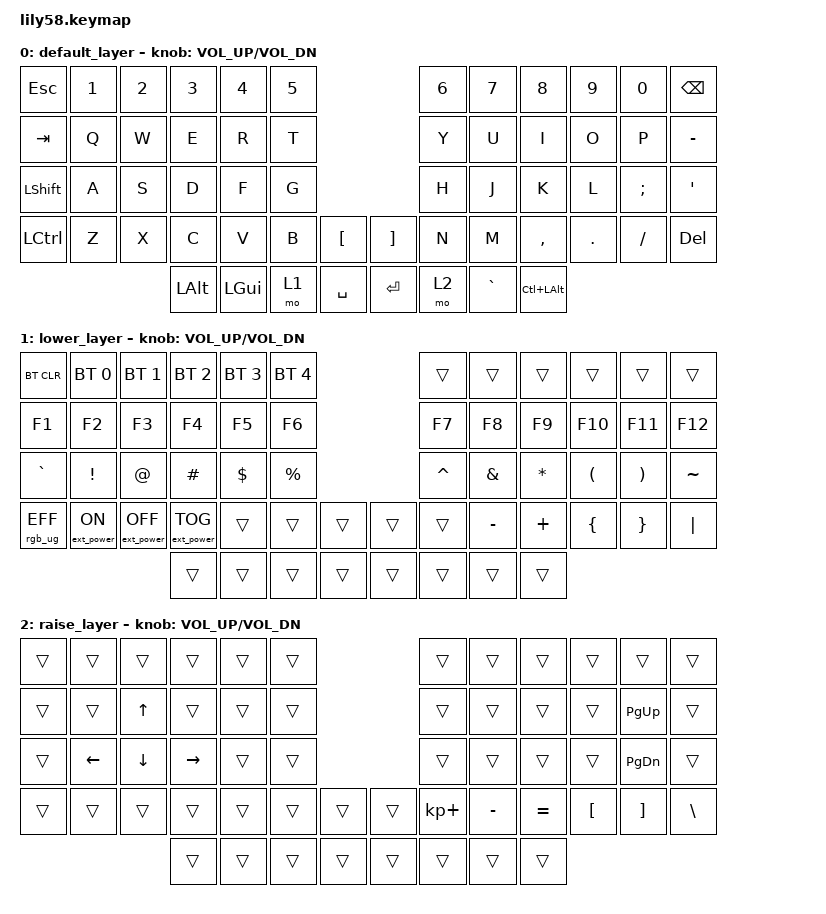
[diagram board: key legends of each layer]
/*
 * Copyright (c) 2020 The ZMK Contributors
 *
 * SPDX-License-Identifier: MIT
 */

#include <behaviors.dtsi>
#include <dt-bindings/zmk/keys.h>
#include <dt-bindings/zmk/bt.h>
#include <dt-bindings/zmk/ext_power.h>
#include <dt-bindings/zmk/rgb.h>

&led_strip {
    chain-length = <35>;
};

/ {
    keymap {
        compatible = "zmk,keymap";

        default_layer {
// ------------------------------------------------------------------------------------------------------------
// |  ESC  |  1  |  2  |  3   |  4   |  5   |                   |  6   |  7    |  8    |  9   |   0   | BSPC  |
// |  TAB  |  Q  |  W  |  E   |  R   |  T   |                   |  Y   |  U    |  I    |  O   |   P   |   -   |
// | SHIFT |  A  |  S  |  D   |  F   |  G   |                   |  H   |  J    |  K    |  L   |   ;   |   '   |
// |  CTRL |  Z  |  X  |  C   |  V   |  B   |   "["  |  |  "]"  |  N   |  M    |  ,    |  .   |   /   |  DEL  |
//                     | ALT  | GUI  | LOWER|  SPACE |  | ENTER | RAISE|  `    | CTRL+LALT |
            bindings = <
&kp ESC   &kp N1 &kp N2 &kp N3   &kp N4   &kp N5                     &kp N6 &kp N7   &kp N8    &kp N9  &kp N0   &kp BSPC
&kp TAB   &kp Q  &kp W  &kp E    &kp R    &kp T                      &kp Y  &kp U    &kp I     &kp O   &kp P    &kp MINUS
&kp LSHFT  &kp A  &kp S  &kp D    &kp F    &kp G                      &kp H  &kp J    &kp K     &kp L   &kp SEMI &kp SQT
&kp LCTRL &kp Z  &kp X  &kp C    &kp V    &kp B  &kp LBKT   &kp RBKT &kp N  &kp M    &kp COMMA &kp DOT &kp FSLH &kp DELETE
                        &kp LALT &kp LGUI &mo 1  &kp SPACE  &kp RET  &mo 2  &kp GRAVE &kp LC(LALT)
            >;

            sensor-bindings = <&inc_dec_kp C_VOL_UP C_VOL_DN>;
        };

        lower_layer {
// ------------------------------------------------------------------------------------------------------------
// | BTCLR | BT1 | BT2 |  BT3 |  BT4 |  BT5 |                   |      |       |       |      |       |       |
// |  F1   |  F2 |  F3 |  F4  |  F5  |  F6  |                   |  F7  |  F8   |  F9   |  F10 |  F11  |  F12  |
// |   `   |  !  |  @  |  #   |  $   |  %   |                   |  ^   |  &    |  *    |  (   |   )   |   ~   |
// |       |     |     |      |      |      |        |  |       |      |  _    |  +    |  {   |   }   |  "|"  |
//                     |      |      |      |        |  |       |      |       |       |
            bindings = <
&bt BT_CLR &bt BT_SEL 0     &bt BT_SEL 1      &bt BT_SEL 2      &bt BT_SEL 3 &bt BT_SEL 4                 &trans    &trans    &trans    &trans    &trans    &trans
&kp F1     &kp F2           &kp F3            &kp F4            &kp F5       &kp F6                       &kp F7    &kp F8    &kp F9    &kp F10   &kp F11   &kp F12
&kp GRAVE  &kp EXCL         &kp AT            &kp HASH          &kp DOLLAR   &kp PRCNT                    &kp CARET &kp AMPS  &kp ASTRK &kp LPAR  &kp RPAR  &kp TILDE
&rgb_ug RGB_EFF &ext_power EP_ON &ext_power EP_OFF &ext_power EP_TOG &trans    &trans       &trans   &trans    &trans    &kp MINUS &kp PLUS  &kp LBRC  &kp RBRC  &kp PIPE
                                              &trans            &trans       &trans    &trans   &trans    &trans    &trans    &trans
            >;

            sensor-bindings = <&inc_dec_kp C_VOL_UP C_VOL_DN>;
        };

        raise_layer {
// ------------------------------------------------------------------------------------------------------------
// |       |     |     |      |      |      |                   |      |       |       |      |       |       |
// |       |     |  ^  |      |      |      |                   |      |       |       |      |       |       |
// |       |  <- |  v  |  ->  |      |      |                   |      |       |       |      |       |       |
// |       |     |     |      |      |      |        |  |       |  +   |   -   |   =   |  [   |   ]   |   \   |
//                     |      |      |      |        |  |       |      |       |       |
            bindings = <
&trans    &trans &trans &trans  &trans  &trans                       &trans      &trans    &trans    &trans   &trans    &trans
&trans    &trans &kp UP &trans  &trans  &trans                       &trans      &trans    &trans    &trans   &kp PAGE_UP    &trans
&trans    &kp LEFT &kp DOWN &kp RIGHT  &trans  &trans                &trans      &trans    &trans    &trans   &kp PAGE_DOWN    &trans
&trans    &trans &trans &trans &trans &trans   &trans   &trans    &kp KP_PLUS &kp MINUS &kp EQUAL &kp LBKT &kp RBKT  &kp BSLH
                        &trans  &trans  &trans    &trans   &trans    &trans      &trans    &trans
            >;

            sensor-bindings = <&inc_dec_kp C_VOL_UP C_VOL_DN>;
        };
    };
};
